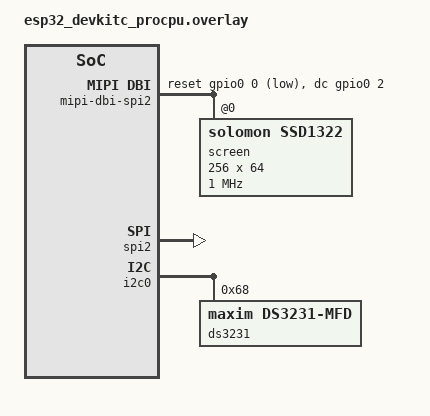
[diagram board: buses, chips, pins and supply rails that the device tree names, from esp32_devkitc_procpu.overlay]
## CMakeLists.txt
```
cmake_minimum_required(VERSION 3.13.1)
find_package(Zephyr REQUIRED HINTS $ENV{ZEPHYR_BASE})

project(app LANGUAGES CXX)

target_include_directories(app PRIVATE include)

target_link_libraries(app
PUBLIC
    pw_thread.thread
    mdspan
)

target_sources(app
PRIVATE
    src/main.cpp
)
```

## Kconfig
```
# Copyright (c) 2021 Nordic Semiconductor ASA
# SPDX-License-Identifier: Apache-2.0
#
# This file is the application Kconfig entry point. All application Kconfig
# options can be defined here or included via other application Kconfig files.
# You can browse these options using the west targets menuconfig (terminal) or
# guiconfig (GUI).

menu "Zephyr"
source "Kconfig.zephyr"
endmenu

menu "App"
endmenu

module = APP
module-str = APP
source "subsys/logging/Kconfig.template.log_config"
```

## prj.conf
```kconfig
CONFIG_CPP=y
CONFIG_STD_CPP2B=y
CONFIG_REQUIRES_FULL_LIBCPP=y

CONFIG_PIGWEED_THREAD=y
CONFIG_PIGWEED_INTERRUPT_CONTEXT=y
CONFIG_PIGWEED_SYNC_BINARY_SEMAPHORE=y

CONFIG_SERIAL=y
CONFIG_UART_INTERRUPT_DRIVEN=y

CONFIG_THREAD_NAME=n
CONFIG_CONSOLE=y
CONFIG_UART_CONSOLE=y
CONFIG_LOG=y
CONFIG_LOG_BACKEND_UART=y
CONFIG_PRINTK=y

CONFIG_DISPLAY=y

CONFIG_MDSPAN=y
```

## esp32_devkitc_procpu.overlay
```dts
#include "dt-bindings/mipi_dbi/mipi_dbi.h"

/ {
    chosen {
        display = &screen;
        rtc = &rtc;
    };

    mipi-dbi-spi2 {
        compatible = "zephyr,mipi-dbi-spi";
        #address-cells = <0x1>;
        #size-cells = <0x0>;
        spi-dev = <&spi2>;
        dc-gpios = <&gpio0 2 GPIO_ACTIVE_HIGH>;
        reset-gpios = <&gpio0 0 GPIO_ACTIVE_LOW>;
        status = "okay";

        screen: ssd1322@0 {
            compatible = "solomon,ssd1322";
            reg = <0>;
            status = "okay";

            // display settings:
            height = <64>;
            width = <256>;
            column-offset = <28>;
            row-offset = <0>;
            start-line = <0>;
            mux-ratio = <63>;
            oscillator-freq = <0x91>;
            precharge-voltage = <0x1F>;
            precharge-period = <0x8>;
            vcomh-voltage = <0x7>;
            phase-length = <0xE2>;
            remap-com-dual;
            grayscale-enhancement;

            // remap-row-first;
            remap-nibble;
            remap-rows;

            // spi settings:
            mipi-mode = "MIPI_DBI_MODE_SPI_4WIRE";
            mipi-cpol;
            mipi-cpha;
            mipi-max-frequency = <DT_FREQ_M(1)>; // TODO 50MHz max
        };

    };
};

&spi2 {
    status = "okay";
    // cs-gpios = <&gpio0 4 GPIO_ACTIVE_LOW>;
};

&i2c0 {
    status = "okay";

    ds3231: ds3231@68 {
        compatible = "maxim,ds3231-mfd";
        reg = <0x68>;
        status = "okay";

        // ds3231_sensor: ds3231_sensor {
            //         compatible = "maxim,ds3231-sensor";
            //         status = "okay";
        // };

        rtc: ds3231_rtc {
            compatible = "maxim,ds3231-rtc";
            status = "okay";
            isw-gpios = <&gpio0 25 (GPIO_PULL_UP | GPIO_ACTIVE_LOW)>;
            freq-32khz-gpios = <&gpio0 33 (GPIO_PULL_UP | GPIO_ACTIVE_LOW)>;
        };
    };
};
```

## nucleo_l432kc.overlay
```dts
#include "dt-bindings/mipi_dbi/mipi_dbi.h"

/ {
    chosen {
        display = &screen;
        rtc = &rtc;
    };

    mipi-dbi-spi1 {
        compatible = "zephyr,mipi-dbi-spi";
        #address-cells = <0x1>;
        #size-cells = <0x0>;
        spi-dev = <&spi1>;
        dc-gpios = <&gpioa 12 GPIO_ACTIVE_HIGH>;
        reset-gpios = <&gpiob 3 GPIO_ACTIVE_LOW>;
        status = "okay";

        screen: ssd1322@0 {
            compatible = "solomon,ssd1322";
            reg = <0>;
            status = "okay";

            // display settings:
            height = <64>;
            width = <256>;
            column-offset = <28>;
            row-offset = <0>;
            start-line = <0>;
            mux-ratio = <63>;
            oscillator-freq = <0x91>;
            precharge-voltage = <0x1F>;
            precharge-period = <0x8>;
            vcomh-voltage = <0x7>;
            phase-length = <0xE2>;
            remap-com-dual;
            grayscale-enhancement;

            // remap-row-first;
            remap-nibble;
            remap-rows;

            // spi settings:
            mipi-mode = "MIPI_DBI_MODE_SPI_4WIRE";
            mipi-cpol;
            mipi-cpha;
            mipi-max-frequency = <DT_FREQ_M(1)>; // TODO 50MHz max
        };

    };
};

&spi1 {
    status = "okay";
    cs-gpios = <&gpioa 4 GPIO_ACTIVE_LOW>;
};
```

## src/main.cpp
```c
#include "AppLauncher.hpp"
#include "HomeScreen.hpp"
#include "Settings.hpp"

#include "ProviderManager.hpp"
#include "SettingsProvider.hpp"
#include "TemperatureProvider.hpp"
#include "TimeProvider.hpp"

#include "Framebuffer.hpp"
#include "Display.hpp"

#include <zephyr/kernel.h>
#include <zephyr/device.h>
#include <zephyr/devicetree.h>
#include <zephyr/logging/log.h>

#include <tuple>

LOG_MODULE_REGISTER(app, CONFIG_LOG_DEFAULT_LEVEL);

// TODO color depth hardcoded:
using FramebufferType = Framebuffer<DT_PROP(DT_CHOSEN(display), width), DT_PROP(DT_CHOSEN(display), height), 4>;
FramebufferType fb;

int main()
{
    using ProviderList = std::tuple<SettingsProvider, TemperatureProvider, TimeProvider>;
    ProviderManager<ProviderList> providers;

    providers.init();

    static constexpr const device* const dispDev = DEVICE_DT_GET(DT_CHOSEN(display));
    Display display(dispDev);
    display.init();

    using AppList = std::tuple<App::HomeScreen, App::Settings>;
    auto launcher = createAppLauncher<AppList>(fb, providers);

    // bootAnimation(display); // TODO implement

    launcher.run();

    while (1) {
        display.update(fb);    // TODO move to UI thread
        k_sleep(K_MSEC(10));
    }

    return 0;
}
```

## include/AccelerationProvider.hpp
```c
#ifndef CARCLOCK_FW_TARGETS_APP_INCLUDE_ACCELERATIONPROVIDER_HPP
#define CARCLOCK_FW_TARGETS_APP_INCLUDE_ACCELERATIONPROVIDER_HPP

#include <expected>

class AccelerationProvider {
  public:
    struct Acceleration {
        int x;
        int y;
        int z;
    };

    bool init() const noexcept { return true; }

    // TODO add actual error codes?
    std::expected<Acceleration, int> get() const noexcept
    {
        static unsigned int pos = 0;

        return testPattern[pos++];    // TODO test values
        // return {0, 0, 1};
    }

    static constexpr Acceleration testPattern[] = {
        {0, 0, 0},         {500, 0, 0},      {700, 200, 0},    {1300, -20, 0}, {1900, 0, 0},   {-1500, -200, 0},
        {-1600, -1300, 0}, {-900, -1500, 0}, {-300, -1650, 0}, {200, -850, 0}, {300, -200, 0}, {0, 0, 0},
    };    // TODO test values
};

#endif    // CARCLOCK_FW_TARGETS_APP_INCLUDE_ACCELERATIONPROVIDER_HPP
```

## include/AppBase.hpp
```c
#ifndef CARCLOCK_FW_TARGETS_APP_INCLUDE_APPBASE_HPP
#define CARCLOCK_FW_TARGETS_APP_INCLUDE_APPBASE_HPP

#include <chrono>
#include <optional>

class AppBase {
  public:
    auto run([[maybe_unused]] auto& display) const noexcept -> std::optional<std::chrono::milliseconds>
    {
        return std::nullopt;
    }
};

#endif    // CARCLOCK_FW_TARGETS_APP_INCLUDE_APPBASE_HPP
```

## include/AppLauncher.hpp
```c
#ifndef CARCLOCK_FW_TARGETS_APP_INCLUDE_APPLAUNCHER_HPP
#define CARCLOCK_FW_TARGETS_APP_INCLUDE_APPLAUNCHER_HPP

#include "Settings.hpp"    // TEST

#include <pw_sync/binary_semaphore.h>
#include <pw_thread/thread.h>
// #include <pw_thread_zephyr/config.h>
#include <pw_thread_zephyr/context.h>
#include <pw_thread_zephyr/options.h>

#include <variant>
#include <tuple>

// pw::thread::zephyr::StaticContextWithStack<1024> threadContext;    // TODO define stackSize in kconfig
pw::thread::backend::NativeContextWithStack<1024> threadContext;    // TODO define stackSize in kconfig

template <typename, typename, typename>
class AppLauncher;

template <typename... APP_Ts, typename DISPLAY_T, typename PROVIDER_MANAGER_T>
class AppLauncher<std::tuple<APP_Ts...>, DISPLAY_T, PROVIDER_MANAGER_T> {
  public:
    AppLauncher(DISPLAY_T& display, PROVIDER_MANAGER_T& providers) noexcept
     : _display(display)
     , _providers(providers)
    { }

    void onEvent() { }

    template <typename APP_T>
    void switchApp() noexcept
    {
        _stop.release();
        _exited.acquire();
        _apps.template emplace<APP_T>(_display, _providers);
        _start.release();
    }

    void run() noexcept
    {
        const auto options = pw::thread::backend::NativeOptions(threadContext)
                                 .set_priority(pw::thread::backend::kDefaultPriority)
                                 .set_stack(threadContext.stack());

        pw::thread::Thread thread(options, [this]() {
            while (1) {
                std::optional delay = std::chrono::milliseconds{};
                do {
                    delay = std::visit([this](auto& app) { return app.run(_display); }, _apps);
                } while (delay.has_value() && !_stop.try_acquire_for(delay.value()));

                _exited.release();
                _start.acquire();
            }
        });
        thread.detach();
    };

  private:
    DISPLAY_T& _display;
    PROVIDER_MANAGER_T& _providers;
    pw::sync::BinarySemaphore _start{};
    pw::sync::BinarySemaphore _stop{};
    pw::sync::BinarySemaphore _exited{};
    std::variant<APP_Ts...> _apps{std::in_place_type<std::tuple_element_t<0, std::tuple<APP_Ts...>>>, _display,
                                  _providers};
};

template <typename APP_TUPLE_T, typename DISPLAY_T, typename PROVIDER_T>
constexpr auto createAppLauncher(DISPLAY_T& disp, PROVIDER_T& provider) noexcept
    -> AppLauncher<APP_TUPLE_T, DISPLAY_T, PROVIDER_T>
{
    return AppLauncher<APP_TUPLE_T, DISPLAY_T, PROVIDER_T>(disp, provider);
}

#endif    // CARCLOCK_FW_TARGETS_APP_INCLUDE_APPLAUNCHER_HPP
```

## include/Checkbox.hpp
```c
#ifndef CARCLOCK_FW_TARGETS_APP_INCLUDE_CHECKBOX_HPP
#define CARCLOCK_FW_TARGETS_APP_INCLUDE_CHECKBOX_HPP

#include "Primitives.hpp"
#include "Textbox.hpp"

class Checkbox {    // TODO is rather a button than a checkbox...
  public:
    struct Config {
        // Label::HzAlignment hzAlignment = Label::HzAlignment::Left;
        // Label::VtAlignment vtAlignment = Label::VtAlignment::Top;
        Textbox::Frame frame = Textbox::Frame::None;
    };

    // constexpr Checkbox(Point pos, Font font, Config cfg = {}) noexcept
    //  : _label(pos, font,
    //           {.hzAlignment = cfg.hzAlignment, .vtAlignment = cfg.vtAlignment, .frame = cfg.frame, .invert = false})
    // { }

    constexpr Checkbox(Point pos, Font font, Config cfg, Widget::Alignment align = {}) noexcept
     : _label(pos, font, {.frame = cfg.frame, .invert = false}, align)
    { }

    constexpr Checkbox(Point pos, Font font, Widget::Alignment align = {}) noexcept
     : _label(pos, font, {.invert = false}, align)
    { }

    void draw(auto& display) noexcept
    {
        _label.setInvert(_checked);
        _label.draw(display);
    }

    constexpr void setPos(Point pos) noexcept { _label.setPos(pos); }
    constexpr void setText(std::string_view text) noexcept { _label.setText(text); }
    constexpr void resize(unsigned int width, unsigned int height) noexcept { _label.resize(width, height); }
    constexpr void setChecked(bool state) noexcept { _checked = state; }
    constexpr bool isChecked() const noexcept { return _checked; }

  private:
    Textbox _label;
    bool _checked{};
};

#endif    // CARCLOCK_FW_TARGETS_APP_INCLUDE_CHECKBOX_HPP
```

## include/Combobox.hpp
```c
#ifndef CARCLOCK_FW_TARGETS_APP_INCLUDE_COMBOBOX_HPP
#define CARCLOCK_FW_TARGETS_APP_INCLUDE_COMBOBOX_HPP

#include "Widget.hpp"
#include "Primitives.hpp"
#include "Label.hpp"

#include <string_view>

// TODO move into class (or source file):
static constexpr Bitmap<3, 5, 4> arrowLeft{0x00, 0xf0, 0x0f, 0xf0, 0xff, 0xf0, 0x0f, 0xf0, 0x00, 0xf0};
static constexpr Bitmap<3, 5, 4> arrowRight{0xf0, 0x00, 0xff, 0x00, 0xff, 0xf0, 0xff, 0x00, 0xf0, 0x00};

template <std::size_t NUM_OPTS_V>
class Combobox : public Widget {    // TODO hoist base class to avoid bloat
    int sideDist = 4;               // space between arrow and text

  public:
    struct Option {
        unsigned int id;
        std::string_view name;
    };

    // struct Config {
    //     // Widget::HzAlignment hzAlignment = Widget::HzAlignment::Left;
    //     // Widget::VtAlignment vtAlignment = Widget::VtAlignment::Top;
    // };

    constexpr Combobox(Point pos, Font font, std::array<Option, NUM_OPTS_V> options, Alignment align) noexcept
     : Widget(pos, align)
     , _font(font)
    //  , _cfg(cfg)
    {
        // std::ranges::copy(options, _options);
        std::copy(options.begin(), options.end(), _options.begin());
    }

    void draw(auto& display) noexcept
    {
        display.clear({_pos, _width, _height});

        const auto pos = _pos + alignmentOffset(contentWidth(), contentHeight());
        display.draw(arrowLeft, pos);
        // TODO draw little marking to show current sel
        const Point textOffset{arrowLeft.width + sideDist, 0};
        display.draw(_options[_sel].name, pos + textOffset, _font);
        const Point rightArrowOffset = textOffset + Point{textWidth() + sideDist, 0};
        display.draw(arrowRight, pos + rightArrowOffset);
    }

    constexpr void selNext() noexcept
    {
        if (++_sel >= NUM_OPTS_V) {
            _sel = 0;
        }
    }

    constexpr void selPrev() noexcept
    {
        if (_sel <= 0) {
            _sel = NUM_OPTS_V;
        }
        --_sel;
    }

    // constexpr void setPos(Point pos) noexcept { _label.setPos(pos); }
    // constexpr void resize(unsigned int width, unsigned int height) noexcept { _label.resize(width, height); }

    constexpr int contentWidth() const noexcept
    {
        return arrowLeft.width + textWidth() + arrowRight.width + 2 * sideDist;
    }

    constexpr int contentHeight() const noexcept { return textHeight(); }

  private:
    constexpr int textWidth() const noexcept
    {
        return _options[_sel].name.size() ? _options[_sel].name.size() * (_font.width + _font.kerning) - _font.kerning
                                          : 0;
    }

    constexpr int textHeight() const noexcept { return _font.height; }

    Font _font;
    // Config _cfg;
    unsigned int _sel{};
    std::array<Option, NUM_OPTS_V> _options;
};

#endif    // CARCLOCK_FW_TARGETS_APP_INCLUDE_COMBOBOX_HPP
```

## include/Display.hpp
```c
#ifndef CARCLOCK_FW_TARGETS_APP_INCLUDE_DISPLAY_HPP
#define CARCLOCK_FW_TARGETS_APP_INCLUDE_DISPLAY_HPP

#include <zephyr/device.h>
#include <zephyr/drivers/display.h>
#include <zephyr/devicetree.h>

class Display {
  public:
    Display(const device* const dev) noexcept
     : _dev(dev)
    { }

    bool init() noexcept
    {
        if (!device_is_ready(_dev)) {
            printk("Display not ready\n");
            // LOG_ERR("Display not ready");
            return false;
        }

        if (display_set_pixel_format(_dev, PIXEL_FORMAT_MONO01) != 0) {
            // printk("Failed to set required pixel format\n");
            // LOG_ERR("Failed to set required pixel format");  // TODO
            return false;
        }

        // display_set_contrast(_dev, 0xff);

        // display_blanking_off(_dev);
        return true;
    }

    void update(const auto& framebuf) noexcept
    {
        // TODO split the framebuffer into tiles and only update the modified tiles

        const display_buffer_descriptor desc{.buf_size = framebuf.size(),
                                             .width = framebuf.width(),
                                             .height = framebuf.height(),
                                             .pitch = framebuf.width()};
        if (const auto err = display_write(_dev, 0, 0, &desc, framebuf.data()); err < 0) {
            printk("failed to write, %d\n", err);
        }
    }

  private:
    const device* const _dev;
};

#endif    // CARCLOCK_FW_TARGETS_APP_INCLUDE_DISPLAY_HPP
```

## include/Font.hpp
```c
#ifndef CARCLOCK_FW_TARGETS_APP_INCLUDE_FONT_HPP
#define CARCLOCK_FW_TARGETS_APP_INCLUDE_FONT_HPP

#include "Primitives.hpp"

#include <algorithm>

template <char BEGIN_V, char END_V, int WIDTH_V, int HEIGHT_V, int COLOR_DEPTH_V = 1>
struct FontDefinition {
    static constexpr char firstChar = BEGIN_V;
    static constexpr char lastChar = END_V;
    static constexpr int width = WIDTH_V;
    static constexpr int height = HEIGHT_V;
    const int kerning;
    const std::array<Bitmap<width, height, COLOR_DEPTH_V>, lastChar - firstChar + 1> chars;

    constexpr const Bitmap<width, height, COLOR_DEPTH_V>& getBitmap(char c) const noexcept
    {
        // TODO ??
        // __ASSERT(c >= firstChar && c <= lastChar);

        // printk("getBitmap(%c), firstChar: %c, lastChar: %c\n", c, firstChar, lastChar);

        // TODO test
        c = std::clamp(c, firstChar, lastChar);    // TEST
        // printk("clamped char: %c\n", c);

        return chars[c - firstChar];
    }
};

// template <char BEGIN_V, char END_V, unsigned int WIDTH_V, unsigned int HEIGHT_V, unsigned int COLOR_DEPTH_V = 1>
// struct FontDefinition {
//     static constexpr char firstChar = BEGIN_V;
//     static constexpr char lastChar = END_V;
//     static constexpr unsigned int width = WIDTH_V;
//     static constexpr unsigned int height = HEIGHT_V;
//     const unsigned int kerning;
//     const std::array<Bitmap<width, height, COLOR_DEPTH_V>, lastChar - firstChar + 1> chars;

//     template <unsigned int WIDTH_V, unsigned int HEIGHT_V, unsigned int COLOR_DEPTH_V = 1>
//     struct Bitmap {
//         static constexpr unsigned int width = WIDTH_V;
//         static constexpr unsigned int height = HEIGHT_V;
//         static constexpr std::size_t size() noexcept { return height * ((width * COLOR_DEPTH_V + 7) / 8); }
//         std::array<std::uint8_t, size()> data;    // round up
//     };

//     constexpr const Bitmap<width, height, COLOR_DEPTH_V>& getBitmap(char c) const noexcept
//     {
//         // TODO ??
//         // __ASSERT(c >= firstChar && c <= lastChar);

//         // printk("getBitmap(%c), firstChar: %c, lastChar: %c\n", c, firstChar, lastChar);

//         // TODO test
//         c = std::clamp(c, firstChar, lastChar);    // TEST
//         // printk("clamped char: %c\n", c);

//         return chars[c - firstChar];
//     }
// };

// struct Font {
//     char firstChar;
//     char lastChar;
//     unsigned int width;
//     unsigned int height;
//     unsigned int kerning;

//     template <char BEGIN_V, char END_V, unsigned int WIDTH_V, unsigned int HEIGHT_V, unsigned int COLOR_DEPTH_V = 1>
//     constexpr Font(const FontDefinition<BEGIN_V, END_V, WIDTH_V, HEIGHT_V, COLOR_DEPTH_V>& fontDef) noexcept
//      : firstChar(fontDef.firstChar)
//      , lastChar(fontDef.lastChar)
//      , width(fontDef.width)
//      , height(fontDef.height)
//      , kerning(fontDef.kerning)
//      //  , chars(fontDef.chars.data(), fontDef.chars.size())
//      , chars(fontDef.chars.data(), fontDef.chars.size(), sizeof(fontDef.chars[0]))
//     { }

//     constexpr Font(const Font& other) noexcept
//      : firstChar(other.firstChar)
//      , lastChar(other.lastChar)
//      , width(other.width)
//      , height(other.height)
//      , kerning(other.kerning)
//      , chars(other.chars)
//     { }

//     constexpr Font& operator=(const Font& other) noexcept
//     {
//         firstChar = other.firstChar;
//         lastChar = other.lastChar;
//         width = other.width;
//         height = other.height;
//         kerning = other.kerning;
//         chars = other.chars;
//         return *this;
//     }

//     // const std::span<BitmapView> chars;

//     Kokkos::mdspan<const std::uint8_t, Kokkos::dextents<unsigned int, 2>> chars;

//     constexpr BitmapView getBitmap(char c) const noexcept
//     {
//         c = std::clamp(c, firstChar, lastChar);
//         // return chars[c - firstChar, 0];
//         // return {.width = width, .height = height, .data = chars[c - firstChar, 0]};
//         BitmapView ret{};
//         ret.width = width;
//         ret.height = height;
//         // ret.data = Kokkos::mdspan<const std::uint8_t, Kokkos::dextents<unsigned int, 2>>{&chars[c - firstChar, 0],
//         // width, height};
//         ret.data = Kokkos::mdspan{&chars[c - firstChar, 0], height, (width * 4 + 7) / 8};    // TODO ugly?
//         return ret;
//     }
// };

struct Font {
    char firstChar;
    char lastChar;
    int width;
    int height;
    int kerning;

    template <char BEGIN_V, char END_V, int WIDTH_V, int HEIGHT_V, int COLOR_DEPTH_V = 1>
    constexpr Font(const FontDefinition<BEGIN_V, END_V, WIDTH_V, HEIGHT_V, COLOR_DEPTH_V>& fontDef) noexcept
     : firstChar(fontDef.firstChar)
     , lastChar(fontDef.lastChar)
     , width(fontDef.width)
     , height(fontDef.height)
     , kerning(fontDef.kerning)
     , chars(fontDef.chars[0].data.data(), fontDef.chars.size() * fontDef.chars[0].data.size())    // TODO
                                                                                                   // ugly
                                                                                                   // af
    { }

    constexpr Font(const Font& other) noexcept
     : firstChar(other.firstChar)
     , lastChar(other.lastChar)
     , width(other.width)
     , height(other.height)
     , kerning(other.kerning)
     , chars(other.chars)
    { }

    constexpr Font& operator=(const Font& other) noexcept
    {
        firstChar = other.firstChar;
        lastChar = other.lastChar;
        width = other.width;
        height = other.height;
        kerning = other.kerning;
        chars = other.chars;
        return *this;
    }

    // const std::span<BitmapView> chars;

    std::span<const std::uint8_t> chars;

    constexpr BitmapView getBitmap(char c) const noexcept
    {
        c = std::clamp(c, firstChar, lastChar);
        // return chars[c - firstChar, 0];
        // return {.width = width, .height = height, .data = chars[c - firstChar, 0]};
        // BitmapView ret{};
        // ret.width = width;
        // ret.height = height;
        // // ret.data = Kokkos::mdspan<const std::uint8_t, Kokkos::dextents<unsigned int, 2>>{&chars[c - firstChar, 0],
        // // width, height};
        // ret.data = Kokkos::mdspan{&chars[c - firstChar, 0], height, (width * 4 + 7) / 8};    // TODO ugly?
        // return ret;

        // printk("idx: %d\n", (c - firstChar) * height * ((width * 4 + 7) / 8));
        // printk("c: %d\n", c);
        // printk("firstChar: %d\n", firstChar);
        // printk("height: %d\n", height);
        // printk("width: %d\n", width);

        // const auto subspan = chars.subspan((c - firstChar) * height * (width * 4 + 7) / 8);

        // printk("raw span:");
        // for (unsigned int i = 0; i < 15; ++i) {
        //     printk(" 0x%02x", subspan[i]);
        // }

        return BitmapView{chars.subspan((c - firstChar) * height * ((width * 4 + 7) / 8)), width,
                          height};    // TODO color depth hardcoded?
    }
};

// struct BitmapView {
//     template <unsigned int WIDTH_V, unsigned int HEIGHT_V, unsigned int COLOR_DEPTH_V>
//     constexpr BitmapView(const Bitmap<WIDTH_V, HEIGHT_V, COLOR_DEPTH_V>& bmp) noexcept
//      : width(bmp.width)
//      , height(bmp.height)
//      , data(bmp.data.data(), height, (width * COLOR_DEPTH_V + 7) / 8)    // TODO how to ensure that
//                                                                          // the size matches the
//                                                                          // array?
//     { }
//     unsigned int width;
//     unsigned int height;
//     Kokkos::mdspan<const std::uint8_t, Kokkos::dextents<unsigned int, 2>> data;
// };

namespace Fonts {

// static constexpr FontDefinition<'/', ':', 12, 21> CyberNumbers{
//     .kerning = 2,
//     // .chars = {{.data = {0xfc, 0xfe, 0xff, 0x7f, 0xf7, 0xc7, 0x07, 0x07, 0x07, 0xff, 0xfe, 0xfc}},
//     //           {.data = {0xfc, 0xfe, 0xff, 0x7f, 0xf7, 0xc7, 0x07, 0x07, 0x07, 0xff, 0xfe, 0xfc}},
//     //           {.data = {0xfc, 0xfe, 0xff, 0x7f, 0xf7, 0xc7, 0x07, 0x07, 0x07, 0xff, 0xfe, 0xfc}},
//     //           {.data = {0xfc, 0xfe, 0xff, 0x7f, 0xf7, 0xc7, 0x07, 0x07, 0x07, 0xff, 0xfe, 0xfc}},
//     //           {.data = {0xfc, 0xfe, 0xff, 0x7f, 0xf7, 0xc7, 0x07, 0x07, 0x07, 0xff, 0xfe, 0xfc}},
//     //           {.data = {0xfc, 0xfe, 0xff, 0x7f, 0xf7, 0xc7, 0x07, 0x07, 0x07, 0xff, 0xfe, 0xfc}},
//     //           {.data = {0xfc, 0xfe, 0xff, 0x7f, 0xf7, 0xc7, 0x07, 0x07, 0x07, 0xff, 0xfe, 0xfc}},
//     //           {.data = {0xfc, 0xfe, 0xff, 0x7f, 0xf7, 0xc7, 0x07, 0x07, 0x07, 0xff, 0xfe, 0xfc}},
//     //           {.data = {0xfc, 0xfe, 0xff, 0x7f, 0xf7, 0xc7, 0x07, 0x07, 0x07, 0xff, 0xfe, 0xfc}},
//     //           {.data = {0xfc, 0xfe, 0xff, 0x7f, 0xf7, 0xc7, 0x07, 0x07, 0x07, 0xff, 0xfe, 0xfc}},
//     //           {.data = {0xfc, 0xfe, 0xff, 0x7f, 0xf7, 0xc7, 0x07, 0x07, 0x07, 0xff, 0xfe, 0xfc}}}};
//     .chars = {
//         {{{0x00, 0x00, 0x00, 0x00, 0x00, 0x00, 0x00, 0x00, 0x00, 0x00, 0x00, 0x00,
//            0x00, 0x00, 0x00, 0x00, 0x00, 0x00, 0x00, 0x00, 0x00, 0x00, 0x00, 0x00}},
//          {{0xfc, 0xfe, 0xff, 0x7f, 0xf7, 0xc7, 0x07, 0x07, 0x07, 0xff, 0xfe, 0xfc, 0xff, 0xff, 0xff, 0x00, 0x10,
//          0x0f,
//            0xe7, 0xf0, 0xc0, 0xff, 0xff, 0xff, 0x07, 0x0f, 0x1f, 0x1c, 0x1c, 0x1c, 0x1c, 0x1d, 0x1f, 0x1f, 0x0f,
//            0x07}},
//          {{0xfc, 0xfe, 0xff, 0x7f, 0x77, 0xc7, 0x07, 0x07, 0x07, 0xff, 0xfe, 0xfc,
//            0xff, 0xff, 0xff, 0x00, 0x10, 0x0f, 0xe7, 0xf0, 0xc0, 0xff, 0xff, 0xff}},
//          {{0xfc, 0xfe, 0xff, 0x7f, 0x77, 0xc7, 0x07, 0x07, 0x07, 0xff, 0xfe, 0xfc,
//            0xff, 0xff, 0xff, 0x00, 0x10, 0x0f, 0xe7, 0xf0, 0xc0, 0xff, 0xff, 0xff}},
//          {{0xfc, 0xfe, 0xff, 0x7f, 0x77, 0xc7, 0x07, 0x07, 0x07, 0xff, 0xfe, 0xfc,
//            0xff, 0xff, 0xff, 0x00, 0x10, 0x0f, 0xe7, 0xf0, 0xc0, 0xff, 0xff, 0xff}},
//          {{0xfc, 0xfe, 0xff, 0x7f, 0x77, 0xc7, 0x07, 0x07, 0x07, 0xff, 0xfe, 0xfc,
//            0xff, 0xff, 0xff, 0x00, 0x10, 0x0f, 0xe7, 0xf0, 0xc0, 0xff, 0xff, 0xff}},
//          {{0xfc, 0xfe, 0xff, 0x7f, 0x77, 0xc7, 0x07, 0x07, 0x07, 0xff, 0xfe, 0xfc,
//            0xff, 0xff, 0xff, 0x00, 0x10, 0x0f, 0xe7, 0xf0, 0xc0, 0xff, 0xff, 0xff}},
//          {{0xfc, 0xfe, 0xff, 0x7f, 0x77, 0xc7, 0x07, 0x07, 0x07, 0xff, 0xfe, 0xfc,
//            0xff, 0xff, 0xff, 0x00, 0x10, 0x0f, 0xe7, 0xf0, 0xc0, 0xff, 0xff, 0xff}},
//          {{0xfc, 0xfe, 0xff, 0x7f, 0x77, 0xc7, 0x07, 0x07, 0x07, 0xff, 0xfe, 0xfc,
//            0xff, 0xff, 0xff, 0x00, 0x10, 0x0f, 0xe7, 0xf0, 0xc0, 0xff, 0xff, 0xff}},
//          {{0xfc, 0xfe, 0xff, 0x7f, 0x77, 0xc7, 0x07, 0x07, 0x07, 0xff, 0xfe, 0xfc,
//            0xff, 0xff, 0xff, 0x00, 0x10, 0x0f, 0xe7, 0xf0, 0xc0, 0xff, 0xff, 0xff}},
//          {{0xfc, 0xfe, 0xff, 0x7f, 0x77, 0xc7, 0x07, 0x07, 0x07, 0xff, 0xfe, 0xfc,
//            0xff, 0xff, 0xff, 0x00, 0x10, 0x0f, 0xe7, 0xf0, 0xc0, 0xff, 0xff, 0xff}},
//          {{0xc0, 0x71, 0x00, 0xc0, 0x71, 0x00, 0xc0, 0x71, 0x00, 0x00, 0x00, 0x00,
//            0x00, 0x00, 0x00, 0x00, 0x00, 0x00, 0x00, 0x00, 0x00, 0x00, 0x00, 0x00,
//            0x00, 0x00, 0x00, 0x00, 0x00, 0x00, 0x00, 0x00, 0x00, 0x00, 0x00, 0x00}}}}};

// static constexpr FontDefinition<' ', 'z', 3, 7> MiniFont{.kerning = 1,
//                                                          .chars = {{
//                                                              {{0x00, 0x00, 0x00}},    // ' '
//                                                              {{0xff, 0xff, 0xff}},    // '!'
//                                                              {{0xff, 0xff, 0xff}},    // '"'
//                                                              {{0xff, 0xff, 0xff}},    // '#'
//                                                              {{0xff, 0xff, 0xff}},    // '$'
//                                                              {{0xff, 0xff, 0xff}},    // '%'
//                                                              {{0xff, 0xff, 0xff}},    // '&'
//                                                              {{0xff, 0xff, 0xff}},    // '''
//                                                              {{0x0e, 0x11, 0x00}},    // '('
//                                                              {{0x00, 0x11, 0x0e}},    // ')'
//                                                              {{0xff, 0xff, 0xff}},    // '*'
//                                                              {{0xff, 0xff, 0xff}},    // '+'
//                                                              {{0xff, 0xff, 0xff}},    // ','
//                                                              {{0x04, 0x04, 0x04}},    // '-'
//                                                              {{0x00, 0x10, 0x00}},    // '.'
//                                                              {{0x18, 0x04, 0x03}},    // '/'

//                                                              {{0x0e, 0x11, 0x0e}},    // '0'
//                                                              {{0x12, 0x1f, 0x10}},    // '1'
//                                                              {{0x19, 0x15, 0x12}},    // '2'
//                                                              {{0x11, 0x15, 0x0a}},    // '3'
//                                                              {{0x07, 0x04, 0x1f}},    // '4'
//                                                              {{0x17, 0x15, 0x09}},    // '5'
//                                                              {{0x1f, 0x15, 0x1d}},    // '6'
//                                                              {{0x19, 0x05, 0x03}},    // '7'
//                                                              {{0x1f, 0x15, 0x1f}},    // '8'
//                                                              {{0x17, 0x15, 0x1f}},    // '9'

//                                                              {{0x00, 0x0a, 0x00}},    // ':'
//                                                              {{0x20, 0x14, 0x00}},    // ';'
//                                                              {{0x00, 0x08, 0x14}},    // '<'
//                                                              {{0xff, 0xff, 0xff}},    // '='
//                                                              {{0x14, 0x08, 0x00}},    // '>'
//                                                              {{0x01, 0x15, 0x02}},    // '?'
//                                                              {{0xff, 0xff, 0xff}},    // '@'

//                                                              {{0x1e, 0x05, 0x1e}},    // 'A'
//                                                              {{0x1f, 0x15, 0x0a}},
//                                                              {{0x0e, 0x11, 0x11}},
//                                                              {{0x1f, 0x11, 0x0e}},
//                                                              {{0x1f, 0x15, 0x11}},    // 'E'
//                                                              {{0x1f, 0x05, 0x01}},    // 'F'
//                                                              {{0x0e, 0x11, 0x19}},
//                                                              {{0x1f, 0x04, 0x1f}},
//                                                              {{0x11, 0x1f, 0x11}},
//                                                              {{0x13, 0x11, 0x0f}},
//                                                              {{0x1f, 0x04, 0x1b}},    // 'K'
//                                                              {{0x1f, 0x10, 0x10}},
//                                                              {{0x1f, 0x06, 0x1f}},    // 'M'
//                                                              {{0x1f, 0x04, 0x1f}},
//                                                              {{0x0e, 0x11, 0x0e}},    // 'O'
//                                                              {{0x1f, 0x05, 0x07}},
//                                                              {{0x0e, 0x19, 0x16}},
//                                                              {{0x1f, 0x0d, 0x17}},    // 'R'
//                                                              {{0x12, 0x15, 0x09}},    // 'S'
//                                                              {{0x01, 0x1f, 0x01}},
//                                                              {{0x0f, 0x10, 0x1f}},
//                                                              {{0x0f, 0x10, 0x0f}},
//                                                              {{0x1f, 0x0c, 0x1f}},    // 'W'
//                                                              {{0x1b, 0x04, 0x1b}},    // 'X'
//                                                              {{0x03, 0x1c, 0x03}},    // 'Y'
//                                                              {{0x19, 0x15, 0x13}},    // 'Z'

//                                                              {{0x1f, 0x11, 0x00}},    // '['
//                                                              {{0x03, 0x04, 0x18}},    // '\'
//                                                              {{0x00, 0x11, 0x1f}},    // ']'
//                                                              {{0x02, 0x01, 0x02}},    // '^'
//                                                              {{0x20, 0x20, 0x20}},    // '_'
//                                                              {{0x01, 0x02, 0x00}},    // '`'

//                                                              {{0x08, 0x14, 0x1c}},    // 'a'
//                                                              {{0x1f, 0x14, 0x08}},
//                                                              {{0x08, 0x14, 0x14}},
//                                                              {{0x08, 0x14, 0x1f}},
//                                                              //  {{0x0c, 0x16, 0x16}},    // 'e'
//                                                              {{0x08, 0x1c, 0x1c}},    // 'e'
//                                                              {{0x1e, 0x09, 0x02}},
//                                                              {{0x08, 0x54, 0x3c}},    // 'g'
//                                                              {{0x1f, 0x04, 0x18}},    // 'h'
//                                                              {{0x14, 0x1d, 0x10}},    // 'i'
//                                                              {{0x24, 0x1d, 0x00}},    // 'j'
//                                                              {{0x1f, 0x08, 0x14}},
//                                                              {{0x11, 0x1f, 0x10}},    // 'l'
//                                                              {{0x1c, 0x1c, 0x18}},
//                                                              {{0x1c, 0x04, 0x18}},
//                                                              {{0x08, 0x14, 0x08}},    // 'o'
//                                                              {{0x7c, 0x14, 0x08}},
//                                                              {{0x08, 0x14, 0x7c}},
//                                                              {{0x1c, 0x04, 0x04}},
//                                                              //  {{0x14, 0x1e, 0x0a}},    // 's'
//                                                              {{0x18, 0x1c, 0x0c}},    // 's'
//                                                              {{0x02, 0x0f, 0x12}},    // 't'
//                                                              {{0x0c, 0x10, 0x1c}},    // 'u'
//                                                              {{0x0c, 0x10, 0x0c}},
//                                                              {{0x1c, 0x18, 0x1c}},    // 'w'
//                                                              {{0x14, 0x08, 0x14}},    // 'x'
//                                                              {{0x24, 0x28, 0x1c}},    // 'y'
//                                                              // {{0x0a, 0x1e, 0x14}}, // 'z'
//                                                              {{0x14, 0x1c, 0x14}},    // 'z'
//                                                          }}};

}    // namespace Fonts

#endif    // CARCLOCK_FW_TARGETS_APP_INCLUDE_FONT_HPP
```

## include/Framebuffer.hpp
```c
#ifndef CARCLOCK_FW_TARGETS_APP_INCLUDE_FRAMEBUFFER_HPP
#define CARCLOCK_FW_TARGETS_APP_INCLUDE_FRAMEBUFFER_HPP

#include "Primitives.hpp"

#include <mdspan/mdspan.hpp>
#include <mdspan/mdarray.hpp>

#include <cstdint>

enum class Mode {    // TODO find better name
    Rgb,
    Rgba,
    Grayscale,
};

template <unsigned int WIDTH_V, unsigned int HEIGHT_V, unsigned int COLOR_DEPTH_BITS_V>
    requires(!(WIDTH_V * COLOR_DEPTH_BITS_V % 8))
class Framebuffer {
    using Extent = Kokkos::extents<unsigned int, HEIGHT_V, WIDTH_V * COLOR_DEPTH_BITS_V / 8>;
    using BufferType = Kokkos::Experimental::mdarray<std::uint8_t, Extent>;

    static constexpr unsigned int bitPerPixel = COLOR_DEPTH_BITS_V;
    static constexpr unsigned int pxPerByte = 8 / bitPerPixel;

  public:
    constexpr std::size_t size() const noexcept { return _buf.size(); }
    static constexpr std::size_t width() noexcept { return WIDTH_V; }
    static constexpr std::size_t height() noexcept { return HEIGHT_V; }
    const std::uint8_t* data() const noexcept { return _buf.data(); }

    template <typename FONT_T>    // TODO get rid of template
    void draw(std::string_view text, Point pos, const FONT_T& font) noexcept
    {
        for (char c : text) {
            if (c == '\0') {
                return;
            }

            draw(font.getBitmap(c), pos);
            pos.x += font.width + font.kerning;
        }
    }

    void draw(const Line& line, int thickness, std::uint8_t color = 0xf) noexcept
    {
        // TODO implement thickness

        // Bresenham-algorithm, https://de.wikipedia.org/wiki/Bresenham-Algorithmus
        Point p = line.begin;

        const int dx = std::abs(static_cast<int>(line.end.x - line.begin.x));
        const int dy = -std::abs(static_cast<int>(line.end.y - line.begin.y));
        const int sx = line.begin.x < line.end.x ? 1 : -1;
        const int sy = line.begin.y < line.end.y ? 1 : -1;
        int err = dx + dy;

        while (1) {
            draw(p, color);
            if (p == line.end) {
                return;
            }

            const int e2 = 2 * err;
            if (e2 > dy) {
                err += dy;
                p.x += sx;
            }

            if (e2 < dx) {
                err += dx;
                p.y += sy;
            }
        }
    }

    void draw(const Point& point, std::uint8_t color = 0xf) noexcept
    {
        const int xShift = 8 / pxPerByte * (1 - point.x % pxPerByte);

        _buf[point.y, point.x / pxPerByte] &= ~(0xf << xShift);
        _buf[point.y, point.x / pxPerByte] |= (color << xShift);
    }

    void drawHLine(const Point& begin, int length, int thickness = 1, std::uint8_t color = 0xf) noexcept
    {
        for (int i = 0; i < thickness; ++i) {
            _drawHLine({begin.x, begin.y + i}, length, color);
        }
    }

    void drawVLine(const Point& begin, int length, int thickness = 1, std::uint8_t color = 0xf) noexcept
    {
        // TODO ensure color is <= 15
        const int horizBitOffset = begin.x % pxPerByte;

        Point pos = {begin.x, begin.y};
        if (horizBitOffset) {
            const std::uint8_t mask = color;
            _drawVLineMasked({pos.x, pos.y}, length, mask);
            --thickness;
            ++pos.x;
        }

        for (int x = 1; x < thickness; x += pxPerByte) {
            const std::uint8_t mask = (color << 4u) | color;
            _drawVLineMasked({pos.x + x, pos.y}, length, mask);
        }

        if (thickness % pxPerByte) {
            const std::uint8_t mask = color << 4u;
            _drawVLineMasked({pos.x + thickness, pos.y}, length, mask);
        }
    }

    void draw(const Rectangle& rect, bool fill, std::uint8_t color = 0xf) noexcept
    {
        // TODO fill not yet implemented
        drawHLine(rect.begin, rect.width, 1, color);
        drawHLine({rect.begin.x, rect.begin.y + rect.height}, rect.width, 1, color);
        drawVLine(rect.begin, rect.height, 1, color);
        drawVLine({rect.begin.x + rect.width, rect.begin.y}, rect.height, 1, color);
    }

    void draw(BitmapView bmp, Point pos) noexcept
    {

        // printk("bmp:\n");
        // for (int i = 0; i < 5; ++i) {
        //     for (int j = 0; j < 3; ++j) {
        //         printk(" 0x%02x", bmp.data[i, j]);
        //     }
        //     printk("\n");
        // }
        // printk("\n");

        const unsigned int horizBitOffset = pos.x % pxPerByte;

        for (int y = 0; y < bmp.height; ++y) {

            if (!horizBitOffset) {
                // fast algorithm for positions aligned to full byte boundaries
                const unsigned int hzBytes = bmp.width / pxPerByte;
                std::copy_n(&bmp.data[y, 0], hzBytes, &_buf[pos.y + y, pos.x / pxPerByte]);

                if (const auto rem = bmp.width - hzBytes * pxPerByte; rem > 0) {
                    _buf[pos.y + y, pos.x / pxPerByte + hzBytes] &= ~0xf0;
                    _buf[pos.y + y, pos.x / pxPerByte + hzBytes] |= bmp.data[y, hzBytes] & 0xf0;
                }
            } else {
                // slow algorithm for unaligned positions
                _buf[pos.y + y, pos.x / pxPerByte] &= ~0xf;
                _buf[pos.y + y, pos.x / pxPerByte] |= (bmp.data[y, 0] & 0xf0) >> 4u;

                const unsigned int hzBytes = (bmp.width - 1) / pxPerByte;
                for (unsigned int x = horizBitOffset; x < hzBytes + horizBitOffset; ++x) {
                    // nibble swap:
                    const std::uint8_t merged =
                        ((bmp.data[y, x - horizBitOffset] & 0xf) << 4u) | ((bmp.data[y, x] & 0xf0) >> 4u);

                    _buf[pos.y + y, pos.x / pxPerByte + x] = merged;
                }

                if (const auto rem = bmp.width - hzBytes * pxPerByte - horizBitOffset; rem > 0) {
                    _buf[pos.y + y, pos.x / pxPerByte + hzBytes + horizBitOffset] &= ~0xf0;
                    _buf[pos.y + y, pos.x / pxPerByte + hzBytes + horizBitOffset] |= bmp.data[y, hzBytes] << 4u;
                }
            }
        }
        /*
                // printk("\nfb:");
                // for (int n = 0; n < 3; ++n) {
                printk("char in fb at %d/%d:\n", pos.x, pos.y);
                for (int i = 0; i < 5; ++i) {
                    for (int j = 0; j < 3; ++j) {
                        printk(" 0x%02x", _buf[pos.y + i, pos.x / 2 + j]);
                    }
                    printk("\n");
                }
                printk("\n");*/
        // }
    }

    void invert(const Rectangle& area) noexcept
    {
        const int horizBitOffset = area.begin.x % pxPerByte;

        for (int y = 0; y < area.height; ++y) {
            auto pos = area.begin + Point{0, y};

            if (horizBitOffset) {
                _buf[pos.y, pos.x / pxPerByte] ^= 0x0f;
                pos += Point{1, 0};
            }

            const unsigned int hzBytes = (area.begin.x + area.width - pos.x) / pxPerByte;
            const auto invert = [](std::uint8_t data) noexcept { return data ^ 0xff; };
            std::transform(&_buf[pos.y, pos.x / pxPerByte], &_buf[pos.y, pos.x / pxPerByte + hzBytes],
                           &_buf[pos.y, pos.x / pxPerByte], invert);
            pos += Point{hzBytes * pxPerByte, 0};

            if (const auto rem = area.begin.x + area.width - pos.x; rem > 0) {
                _buf[pos.y, pos.x / pxPerByte] ^= 0xf0;
            }
        }
    }

    void clear(const Rectangle& area) noexcept
    {
        const int horizBitOffset = area.begin.x % pxPerByte;

        for (int y = 0; y < area.height; ++y) {
            auto pos = area.begin + Point{0, y};

            if (horizBitOffset) {
                _buf[pos.y, pos.x / pxPerByte] &= ~0x0f;
                pos += Point{1, 0};
            }

            const unsigned int hzBytes = (area.begin.x + area.width - pos.x) / pxPerByte;
            std::fill(&_buf[pos.y, pos.x / pxPerByte], &_buf[pos.y, pos.x / pxPerByte + hzBytes], 0x00);
            pos += Point{hzBytes * pxPerByte, 0};

            if (const auto rem = area.begin.x + area.width - pos.x; rem > 0) {
                _buf[pos.y, pos.x / pxPerByte] &= ~0xf0;
            }
        }
    }

  private:
    void _drawHLine(const Point& begin, int length, std::uint8_t color) noexcept
    {
        // TODO ensure color is <= 15

        const unsigned int horizBitOffset = begin.x % pxPerByte;
        Point pos = {begin.x, begin.y};

        if (horizBitOffset) {
            _buf[pos.y, pos.x / pxPerByte] |= color;
            --length;
            ++pos.x;
        }

        const unsigned int hzBytes = length / pxPerByte;
        std::fill_n(&_buf[pos.y, pos.x / pxPerByte], hzBytes, (color << 4u) | color);

        if (const auto rem = length - hzBytes * pxPerByte; rem > 0) {
            _buf[pos.y, pos.x / pxPerByte + hzBytes] |= (color << 4u);
        }
    }

    void _drawVLineMasked(const Point& begin, int length, std::uint8_t mask) noexcept
    {
        for (int y = 0; y < length; ++y) {
            _buf[begin.y + y, begin.x / pxPerByte] |= mask;
        }
    }

  private:
    BufferType _buf{};
};

#endif    // CARCLOCK_FW_TARGETS_APP_INCLUDE_FRAMEBUFFER_HPP
```

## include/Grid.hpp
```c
#ifndef CARCLOCK_FW_TARGETS_APP_INCLUDE_GRID_HPP
#define CARCLOCK_FW_TARGETS_APP_INCLUDE_GRID_HPP

#include <tuple>

template <unsigned int COLS_V, unsigned int ROWS_V, typename... WIDGET_Ts>
class Grid {
    static constexpr int width = 200;    // TODO hardcoded
    static constexpr int height = 13;    // TODO hardcoded

  public:
    template <typename... Ts>
    Grid(Ts&&... args) noexcept
     : _widgets(std::forward<Ts>(args)...)
    { }

    constexpr void setPos(Point pos) noexcept
    {

        for (unsigned int c = 0; c < COLS_V; ++c) {
            for (unsigned int r = 0; r < ROWS_V; ++r) {
                const auto widgetIdx = c * ROWS_V + r;
                if (widgetIdx >= sizeof...(WIDGET_Ts)) {
                    return;
                }
                setWidgetPos(widgetIdx, pos + Point{r * width / ROWS_V, c * height / COLS_V});    // TODO col and
                                                                                                  // row-width
                                                                                                  // hardcoded
            }
        }
    }

    void draw(auto& display) noexcept
    {
        std::apply([&display](auto&... w) { (w.draw(display), ...); }, _widgets);
    }

    constexpr void resize(int width, int height) noexcept
    {
        _width = width;
        _height = height;
        const int widgetWidth = width / ROWS_V;
        const int widgetHeight = height / COLS_V;
        std::apply([widgetWidth, widgetHeight](auto&... widgets) { (widgets.resize(widgetWidth, widgetHeight), ...); },
                   _widgets);
    }

  private:
    static_assert(sizeof...(WIDGET_Ts) <= COLS_V * ROWS_V);

    template <unsigned int N = sizeof...(WIDGET_Ts) - 1>
    void setWidgetPos(unsigned int idx, Point pos) const noexcept
    {
        if (idx == N) {
            return std::get<N>(_widgets).setPos(pos);
        }

        if constexpr (N != 0) {
            return setWidgetPos<N - 1>(idx, pos);
        }

        // TODO assert? should never happen
    }

    unsigned int _width{};
    unsigned int _height{};
    std::tuple<WIDGET_Ts...> _widgets;
};

#endif    // CARCLOCK_FW_TARGETS_APP_INCLUDE_GRID_HPP
```

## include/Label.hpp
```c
#ifndef CARCLOCK_FW_TARGETS_APP_INCLUDE_LABEL_HPP
#define CARCLOCK_FW_TARGETS_APP_INCLUDE_LABEL_HPP

#include <Widget.hpp>
#include <Primitives.hpp>
#include <Font.hpp>

class Label : public Widget {
  public:
    // struct Config {
    //     HzAlignment hzAlignment = HzAlignment::Left;
    //     VtAlignment vtAlignment = VtAlignment::Top;
    // };

    // constexpr Label(Point pos, unsigned int width, unsigned int height, Font font, Config cfg) noexcept
    //  : Widget(pos, width, height)
    //  , _font(font)
    //  , _cfg(cfg)
    // { }

    constexpr Label(Point pos, Font font, Alignment align) noexcept
     : Widget(pos, align)
     , _font(font)
    //  , _cfg(cfg)
    { }

    constexpr Label(Point pos, Font font) noexcept
     : Label(pos, font, {})
    { }

    void draw(auto& display) const noexcept
    {
        // const unsigned int xAlignOffset = _align.hz == HzAlignment::Center  ? textWidth() / 2
        //                                   : _align.hz == HzAlignment::Right ? textWidth()
        //                                                                     : 0;

        // const unsigned int yAlignOffset = _align.vt == VtAlignment::Center   ? (_height - textHeight()) / 2
        //                                   : _align.vt == VtAlignment::Bottom ? _height - textHeight()
        //                                                                      : 0;

        const auto pos = _pos + alignmentOffset(textWidth(), textHeight());

        display.clear({pos, textWidth(), textHeight()});
        display.draw(_text, pos, _font);
    }

    constexpr void setText(std::string_view text) noexcept { _text = text; }
    constexpr void setFont(Font font) noexcept { font = _font; }

  private:
    constexpr unsigned int textWidth() const noexcept
    {
        return _text.size() ? _text.size() * (_font.width + _font.kerning) - _font.kerning : 0;
    }

    constexpr unsigned int textHeight() const noexcept { return _font.height; }

    std::string_view _text;
    Font _font;
    // Config _cfg;
};

#endif    // CARCLOCK_FW_TARGETS_APP_INCLUDE_LABEL_HPP
```
